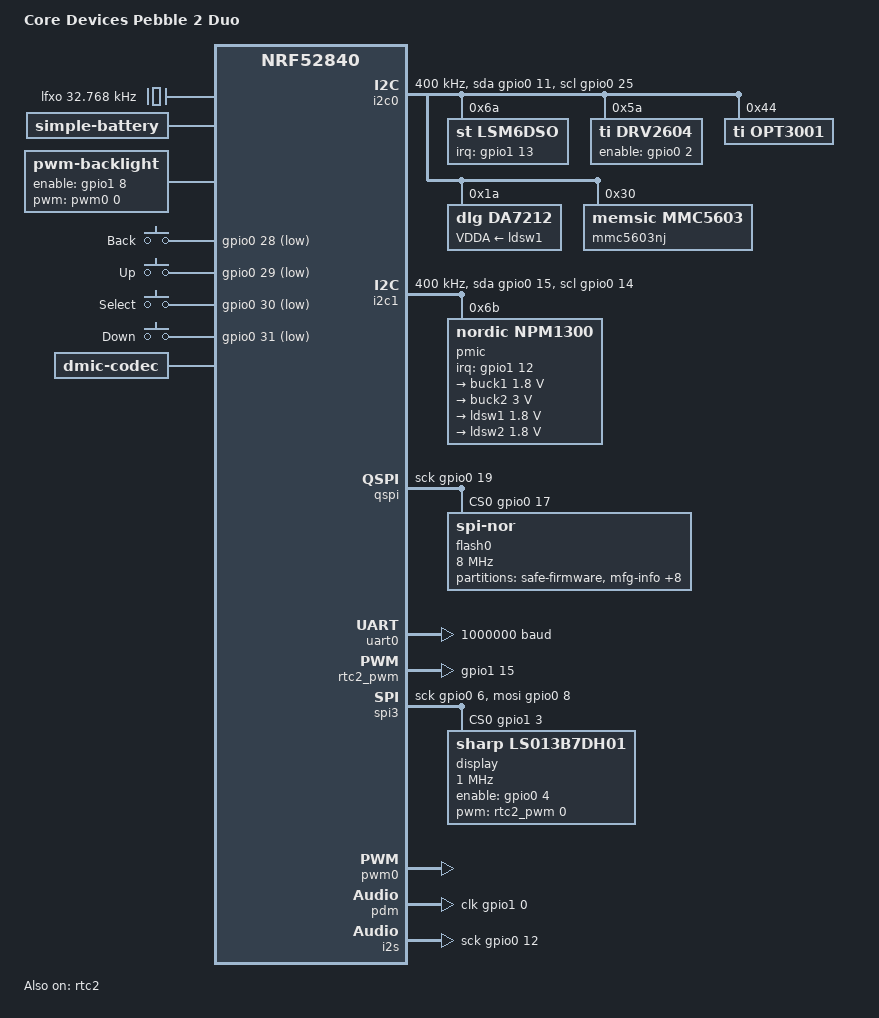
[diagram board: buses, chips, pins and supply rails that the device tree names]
// SPDX-FileCopyrightText: 2026 Core Devices LLC
// SPDX-License-Identifier: (GPL-2.0-only OR BSD-2-Clause)

/dts-v1/;

#include "nordic/nrf52840-qiaa.dtsi"

#include <dt-bindings/input/input.h>
#include <dt-bindings/input/ti-drv260x.h>

/ {
	model = "Core Devices Pebble 2 Duo";

	compatible = "coredevices,asterix", "nordic,nrf52840";

	lfxo: clock-32768 {
		compatible = "fixed-clock";
		#clock-cells = <0>;
		clock-frequency = <32768>;
	};

	battery: battery {
		compatible = "simple-battery";
		constant-charge-current-max-microamp = <128000>;
		charge-term-current-microamp = <12800>;
		constant-charge-voltage-max-microvolt = <4200000>;
	};

	backlight: backlight {
		compatible = "pwm-backlight";
		pwms = <&pwm0 0 3906250 0>;
		enable-gpios = <&gpio1 8 0>;
	};

	buttons: gpio-keys {
		compatible = "gpio-keys";

		button-back {
			label = "Back";
			gpios = <&gpio0 28 (GPIO_ACTIVE_LOW | GPIO_PULL_UP)>;
			linux,code = <KEY_BACK>;
			debounce-interval = <40>;
		};

		button-up {
			label = "Up";
			gpios = <&gpio0 29 (GPIO_ACTIVE_LOW | GPIO_PULL_UP)>;
			linux,code = <KEY_UP>;
			debounce-interval = <40>;
		};

		button-select {
			label = "Select";
			gpios = <&gpio0 30 (GPIO_ACTIVE_LOW | GPIO_PULL_UP)>;
			linux,code = <KEY_SELECT>;
			debounce-interval = <40>;
		};

		button-down {
			label = "Down";
			gpios = <&gpio0 31 (GPIO_ACTIVE_LOW | GPIO_PULL_UP)>;
			linux,code = <KEY_DOWN>;
			debounce-interval = <40>;
		};
	};

	dmic: dmic {
		compatible = "dmic-codec";
		#sound-dai-cells = <0>;
	};

	mic: sound-mic {
		compatible = "simple-audio-card";
		simple-audio-card,name = "mic";
		simple-audio-card,format = "pdm";

		simple-audio-card,cpu {
			sound-dai = <&pdm>;
		};

		simple-audio-card,codec {
			sound-dai = <&dmic>;
		};
	};

	speaker: sound-speaker {
		compatible = "simple-audio-card";
		simple-audio-card,name = "speaker";
		simple-audio-card,format = "i2s";
		simple-audio-card,bitclock-master = <&speaker_codec>;
		simple-audio-card,frame-master = <&speaker_codec>;

		simple-audio-card,cpu {
			sound-dai = <&i2s>;
		};

		speaker_codec: simple-audio-card,codec {
			sound-dai = <&da7212>;
		};
	};
};

&clock {
	clocks = <&hfxo>, <&lfxo>;
	clock-names = "hfxo", "lfxo";
};

&i2c0 {
	clock-frequency = <400000>;
	scl-gpios = <&gpio0 25 GPIO_PULL_UP>;
	sda-gpios = <&gpio0 11 GPIO_PULL_UP>;
	status = "okay";

	lsm6dso: imu@6a {
		compatible = "st,lsm6dso";
		reg = <0x6a>;
		interrupt-parent = <&gpio1>;
		interrupts = <13 IRQ_TYPE_EDGE_RISING>;
		mount-matrix = "0", "1", "0",
			       "1", "0", "0",
			       "0", "0", "1";
	};

	drv2604: haptics@5a {
		compatible = "ti,drv2604";
		reg = <0x5a>;
		enable-gpios = <&gpio0 2 GPIO_ACTIVE_HIGH>;
		mode = <DRV260X_LRA_MODE>;
		library-sel = <DRV260X_LIB_LRA>;
	};

	opt3001: light-sensor@44 {
		compatible = "ti,opt3001";
		reg = <0x44>;
	};

	da7212: audio-codec@1a {
		compatible = "dlg,da7212";
		reg = <0x1a>;
		#sound-dai-cells = <0>;
		VDDA-supply = <&ldsw1>;
	};

	mmc5603nj: magnetometer@30 {
		compatible = "memsic,mmc5603";
		reg = <0x30>;
		mount-matrix = "0", "1", "0",
			       "-1", "0", "0",
			       "0", "0", "1";
	};
};

&i2c1 {
	clock-frequency = <400000>;
	scl-gpios = <&gpio0 14 GPIO_PULL_UP>;
	sda-gpios = <&gpio0 15 GPIO_PULL_UP>;
	status = "okay";

	pmic: pmic@6b {
		compatible = "nordic,npm1300";
		reg = <0x6b>;
		interrupt-parent = <&gpio1>;
		interrupts = <12 IRQ_TYPE_EDGE_RISING>;
		gpio-controller;
		#gpio-cells = <2>;
		monitored-battery = <&battery>;
		nordic,reduced-charge-voltage-microvolt = <4000000>;
		nordic,thermistor-ohms = <10000>;
		nordic,thermistor-beta = <3380>;
		nordic,thermistor-hot-celsius = <45>;
		nordic,discharge-current-limit-microamp = <200000>;

		regulators {
			buck1: BUCK1 {
				regulator-name = "npm1300_buck1";
				regulator-min-microvolt = <1800000>;
				regulator-max-microvolt = <1800000>;
				regulator-always-on;
			};

			buck2: BUCK2 {
				regulator-name = "npm1300_buck2";
				regulator-min-microvolt = <3000000>;
				regulator-max-microvolt = <3000000>;
				regulator-always-on;
			};

			ldsw1: LDSW1 {
				regulator-name = "npm1300_ldsw1";
				regulator-min-microvolt = <1800000>;
				regulator-max-microvolt = <1800000>;
				regulator-always-on;
				nordic,ldo-mode;
			};

			ldsw2: LDSW2 {
				regulator-name = "npm1300_ldsw2";
				regulator-min-microvolt = <1800000>;
				regulator-max-microvolt = <1800000>;
				regulator-always-on;
				nordic,ldo-mode;
			};
		};
	};
};

&qspi {
	sck-gpios = <&gpio0 19 0>;
	cs-gpios = <&gpio0 17 0>;
	io-gpios = <&gpio0 20 0>, <&gpio0 21 0>, <&gpio0 22 0>, <&gpio0 23 0>;
	status = "okay";

	flash0: flash@0 {
		compatible = "jedec,spi-nor";
		reg = <0>;
		spi-max-frequency = <8000000>;
		spi-rx-bus-width = <4>;
		spi-tx-bus-width = <4>;

		partitions {
			compatible = "fixed-partitions";
			#address-cells = <1>;
			#size-cells = <1>;

			partition@0 {
				label = "safe-firmware";
				reg = <0x0 0x80000>;
			};

			partition@ff000 {
				label = "mfg-info";
				reg = <0xff000 0x1000>;
			};

			partition@100000 {
				label = "firmware-slot-1";
				reg = <0x100000 0x100000>;
			};

			partition@200000 {
				label = "system-resources-bank-0";
				reg = <0x200000 0x100000>;
			};

			partition@300000 {
				label = "system-resources-bank-1";
				reg = <0x300000 0x100000>;
			};

			partition@400000 {
				label = "filesystem";
				reg = <0x400000 0x19d0000>;
			};

			partition@1fd0000 {
				label = "debug-db";
				reg = <0x1fd0000 0x20000>;
			};

			partition@1ffd000 {
				label = "mfg-results";
				reg = <0x1ffd000 0x1000>;
			};

			partition@1ffe000 {
				label = "mfg-battery-state";
				reg = <0x1ffe000 0x1000>;
			};

			partition@1fff000 {
				label = "shared-prf-storage";
				reg = <0x1fff000 0x1000>;
			};
		};

		otp {
			compatible = "user-otp";

			nvmem-layout {
				compatible = "fixed-layout";
				#address-cells = <1>;
				#size-cells = <1>;

				hw-version@0 {
					reg = <0x0 0x20>;
				};

				serial-number@20 {
					reg = <0x20 0x20>;
				};

				pcba-serial-number@40 {
					reg = <0x40 0x20>;
				};
			};
		};
	};
};

&uart0 {
	current-speed = <1000000>;
	tx-gpios = <&gpio0 27 0>;
	rx-gpios = <&gpio0 5 0>;
	nordic,timer = <&timer2>;
	status = "okay";
};

&rtc2 {
	status = "okay";
};

&rtc2_pwm {
	gpios = <&gpio1 15 0>;
	status = "okay";
};

&spi3 {
	sck-gpios = <&gpio0 6 0>;
	mosi-gpios = <&gpio0 8 0>;
	cs-gpios = <&gpio1 3 0>;
	status = "okay";

	display: display@0 {
		compatible = "sharp,ls013b7dh01";
		reg = <0>;
		spi-max-frequency = <1000000>;
		spi-cs-high;
		spi-lsb-first;
		enable-gpios = <&gpio0 4 0>;
		sharp,vcom-mode = "pwm";
		pwms = <&rtc2_pwm 0 8333333 0>;
	};
};

&pwm0 {
	out-gpios = <&gpio0 26 0>;
	status = "okay";
};

&pdm {
	clk-gpios = <&gpio1 0 0>;
	din-gpios = <&gpio0 24 0>;
	status = "okay";
};

&i2s {
	sck-gpios = <&gpio0 12 0>;
	lrck-gpios = <&gpio0 7 0>;
	mck-gpios = <&gpio1 9 0>;
	sdout-gpios = <&gpio0 13 0>;
	status = "okay";
};
